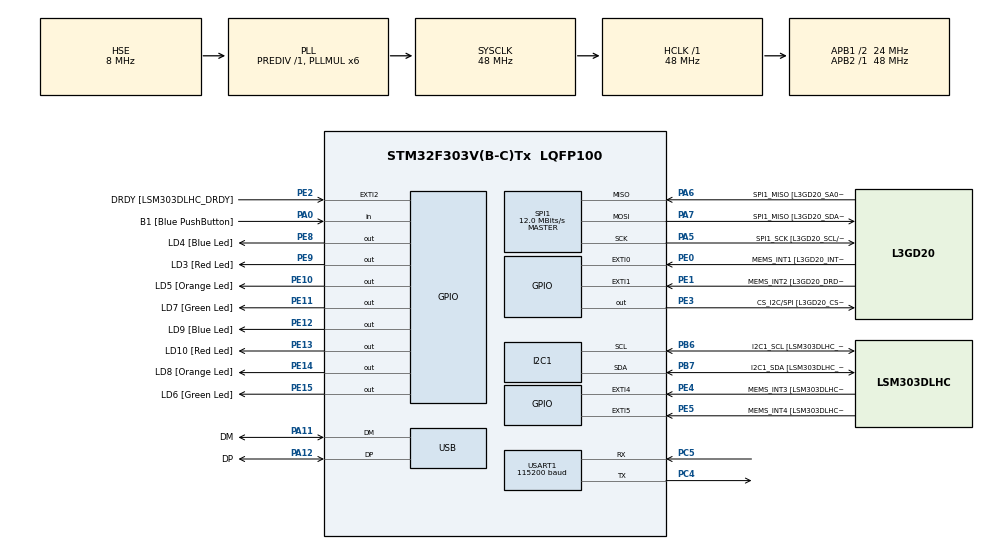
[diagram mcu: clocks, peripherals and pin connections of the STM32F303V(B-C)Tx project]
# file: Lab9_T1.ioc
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I2C1.Timing=0x00201D2B
I2C1.Timing-I2C=0x2000090E
Mcu.Family=STM32F3
Mcu.Name=STM32F303V(B-C)Tx
Mcu.Package=LQFP100
NVIC.I2C1_ER_IRQn=true\:0\:0\:false\:false\:true\:true\:true\:true
NVIC.I2C1_EV_IRQn=true\:0\:0\:false\:false\:true\:true\:true\:true
NVIC.PriorityGroup=NVIC_PRIORITYGROUP_0
NVIC.USART1_IRQn=true\:0\:0\:false\:false\:true\:true\:true\:true
PA0.GPIO_Label=B1 [Blue PushButton]
PA0.Signal=GPIO_Input
PA11.GPIO_Label=DM
PA11.Mode=Device
PA11.Signal=USB_DM
PA12.GPIO_Label=DP
PA12.Mode=Device
PA12.Signal=USB_DP
PA13.GPIO_Label=SWDIO
PA13.Mode=Serial_Wire
PA13.Signal=SYS_JTMS-SWDIO
PA14.GPIO_Label=SWCLK
PA14.Mode=Serial_Wire
PA14.Signal=SYS_JTCK-SWCLK
PA5.GPIO_Label=SPI1_SCK [L3GD20_SCL/SPC]
PA5.Mode=Full_Duplex_Master
PA5.Signal=SPI1_SCK
PA6.GPIO_Label=SPI1_MISO [L3GD20_SA0/SDO]
PA6.Mode=Full_Duplex_Master
PA6.Signal=SPI1_MISO
PA7.GPIO_Label=SPI1_MISO [L3GD20_SDA/SDI/SDO]
PA7.Mode=Full_Duplex_Master
PA7.Signal=SPI1_MOSI
PB3.GPIO_Label=SWO
PB3.Signal=SYS_JTDO-TRACESWO
PB6.GPIO_Label=I2C1_SCL [LSM303DLHC_SCL]
PB6.GPIO_Pu=GPIO_PULLUP
PB6.Mode=I2C
PB6.Signal=I2C1_SCL
PB7.GPIO_Label=I2C1_SDA [LSM303DLHC_SDA]
PB7.GPIO_Pu=GPIO_PULLUP
PB7.Mode=I2C
PB7.Signal=I2C1_SDA
PC14-OSC32_IN.GPIO_Label=OSC32_IN
PC14-OSC32_IN.Signal=RCC_OSC32_IN
PC15-OSC32_OUT.GPIO_Label=OSC32_OUT
PC15-OSC32_OUT.Signal=RCC_OSC32_OUT
PC4.Mode=Asynchronous
PC4.Signal=USART1_TX
PC5.Mode=Asynchronous
PC5.Signal=USART1_RX
PE0.GPIO_Label=MEMS_INT1 [L3GD20_INT1]
PE0.GPIO_ModeDefaultEXTI=GPIO_MODE_EVT_RISING
PE0.Signal=GPXTI0
PE1.GPIO_Label=MEMS_INT2 [L3GD20_DRDY/INT2]
PE1.GPIO_ModeDefaultEXTI=GPIO_MODE_EVT_RISING
PE1.Signal=GPXTI1
PE10.GPIO_Label=LD5 [Orange Led]
PE10.Signal=GPIO_Output
PE11.GPIO_Label=LD7 [Green Led]
PE11.Signal=GPIO_Output
PE12.GPIO_Label=LD9 [Blue Led]
PE12.Signal=GPIO_Output
PE13.GPIO_Label=LD10 [Red Led]
PE13.Signal=GPIO_Output
PE14.GPIO_Label=LD8 [Orange Led]
PE14.Signal=GPIO_Output
PE15.GPIO_Label=LD6 [Green Led]
PE15.Signal=GPIO_Output
PE2.GPIO_Label=DRDY [LSM303DLHC_DRDY]
PE2.GPIO_ModeDefaultEXTI=GPIO_MODE_EVT_RISING
PE2.Signal=GPXTI2
PE3.GPIO_Label=CS_I2C/SPI [L3GD20_CS_I2C/SPI]
PE3.Signal=GPIO_Output
PE4.GPIO_Label=MEMS_INT3 [LSM303DLHC_INT1]
PE4.GPIO_ModeDefaultEXTI=GPIO_MODE_EVT_RISING
PE4.Signal=GPXTI4
PE5.GPIO_Label=MEMS_INT4 [LSM303DLHC_INT2]
PE5.GPIO_ModeDefaultEXTI=GPIO_MODE_EVT_RISING
PE5.Signal=GPXTI5
PE8.GPIO_Label=LD4 [Blue Led]
PE8.Signal=GPIO_Output
PE9.GPIO_Label=LD3 [Red Led]
PE9.Signal=GPIO_Output
PF0-OSC_IN.GPIO_Label=OSC_IN
PF0-OSC_IN.Mode=HSE-External-Clock-Source
PF0-OSC_IN.Signal=RCC_OSC_IN
PF1-OSC_OUT.GPIO_Label=OSC_OUT
PF1-OSC_OUT.Signal=RCC_OSC_OUT
ProjectManager.HeapSize=0x200
ProjectManager.StackSize=0x400
ProjectManager.TargetToolchain=CMake
RCC.AHBFreq_Value=48000000
RCC.APB1CLKDivider=RCC_HCLK_DIV2
RCC.APB1Freq_Value=24000000
RCC.APB1TimFreq_Value=48000000
RCC.APB2Freq_Value=48000000
RCC.APB2TimFreq_Value=48000000
RCC.CortexFreq_Value=48000000
RCC.HCLKFreq_Value=48000000
RCC.HSE_VALUE=8000000
RCC.HSI_VALUE=8000000
RCC.LSE_VALUE=32768
RCC.PLLMUL=RCC_PLL_MUL6
RCC.SYSCLKFreq_VALUE=48000000
RCC.SYSCLKSourceVirtual=RCC_SYSCLKSOURCE_PLLCLK
RCC.USBFreq_Value=48000000
SPI1.BaudRatePrescaler=SPI_BAUDRATEPRESCALER_4
SPI1.BaudRatePrescaler-Full_Duplex_Master=SPI_BAUDRATEPRESCALER_2
SPI1.CalculateBaudRate=12.0 MBits/s
SPI1.CalculateBaudRate-Full_Duplex_Master=24.0 MBits/s
SPI1.Direction=SPI_DIRECTION_2LINES
SPI1.Mode=SPI_MODE_MASTER
SPI1.Mode-Full_Duplex_Master=SPI_MODE_MASTER
SPI1.VirtualType=VM_MASTER
USART1.BaudRate=115200
USART1.VirtualMode-Asynchronous=VM_ASYNC
board=STM32F3DISCOVERY

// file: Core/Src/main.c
/* USER CODE BEGIN Header */
/**
  ******************************************************************************
  * @file           : main.c
  * @brief          : Lab 9 Task 1 — I2C Communication with LSM303AGR
  *                   Read WHO_AM_I_A register (0x0F) from the on-board
  *                   LSM303AGR accelerometer and verify the device ID.
  *                   Expected value : 0x33
  *                   UART output    : USART1 @ 115200 baud
  ******************************************************************************
  */
/* USER CODE END Header */

#include "main.h"

/* USER CODE BEGIN Includes */
#include <stdio.h>
#include <string.h>
/* USER CODE END Includes */

/* USER CODE BEGIN PD */
/* ── LSM303AGR I2C Addresses ────────────────────────────────────────────────
 *  STM32 HAL expects the 8-bit address (7-bit address already left-shifted).
 *  Accelerometer:
 *    Write → 0x32   Read → 0x33
 *  Use 0x33 with HAL_I2C_Mem_Read
 *  Use 0x32 with HAL_I2C_Mem_Write
 * ─────────────────────────────────────────────────────────────────────────── */
#define LSM303AGR_ACCEL_READ    0x33   /* 8-bit read  address */
#define LSM303AGR_ACCEL_WRITE   0x32   /* 8-bit write address */

/* ── LSM303AGR Registers ────────────────────────────────────────────────────*/
#define WHO_AM_I_A     0x0F   /* Identification register — expected: 0x33 */
#define CTRL_REG1_A    0x20   /* Power on + enable axes                   */
#define LSM303AGR_ID   0x33   /* Expected WHO_AM_I value                  */
/* USER CODE END PD */

I2C_HandleTypeDef  hi2c1;
SPI_HandleTypeDef  hspi1;
UART_HandleTypeDef huart1;
PCD_HandleTypeDef  hpcd_USB_FS;

/* USER CODE BEGIN PV */
static uint8_t who_am_i = 0;
static char    uart_buf[80];
/* USER CODE END PV */

void SystemClock_Config(void);
static void MX_GPIO_Init(void);
static void MX_I2C1_Init(void);
static void MX_SPI1_Init(void);
static void MX_USART1_UART_Init(void);
static void MX_USB_PCD_Init(void);

/* USER CODE BEGIN PFP */
static void UART_Print(const char *msg);
/* USER CODE END PFP */

/* USER CODE BEGIN 0 */
static void UART_Print(const char *msg)
{
    HAL_UART_Transmit(&huart1, (uint8_t *)msg, strlen(msg), HAL_MAX_DELAY);
}
/* USER CODE END 0 */

int main(void)
{
    HAL_Init();
    SystemClock_Config();

    MX_GPIO_Init();
    MX_I2C1_Init();
    MX_SPI1_Init();
    MX_USART1_UART_Init();
    MX_USB_PCD_Init();

    /* USER CODE BEGIN 2 */

    /* Small delay to let UART stabilise before first print */
    HAL_Delay(100);

    UART_Print("\r\n=== Lab 9 Task 1: LSM303AGR WHO_AM_I Test ===\r\n");

    /* ── Step 1: Wake up LSM303AGR accelerometer ───────────────────────────
     *  Write 0x67 to CTRL_REG1_A (0x20):
     *    ODR = 200 Hz, normal mode, X/Y/Z axes enabled
     *  Without this the sensor may not respond correctly.
     * ───────────────────────────────────────────────────────────────────── */
    uint8_t ctrl = 0x67;
    HAL_StatusTypeDef wake_status = HAL_I2C_Mem_Write(
        &hi2c1,
        LSM303AGR_ACCEL_WRITE,
        CTRL_REG1_A,
        I2C_MEMADD_SIZE_8BIT,
        &ctrl,
        1,
        100
    );

    if (wake_status != HAL_OK)
    {
        UART_Print("ERROR: Could not write to LSM303AGR!\r\n");
        UART_Print("Check: PB6=SCL and PB7=SDA are configured in CubeMX.\r\n");
    }
    else
    {
        UART_Print("LSM303AGR wake-up OK.\r\n");
    }

    HAL_Delay(10); /* let sensor settle */

    /* ── Step 2: Read WHO_AM_I_A register (0x0F) ───────────────────────────
     *  HAL_I2C_Mem_Read parameters:
     *    &hi2c1                  — I2C handle
     *    LSM303AGR_ACCEL_READ    — 8-bit read address (0x33)
     *    WHO_AM_I_A (0x0F)       — register to read
     *    I2C_MEMADD_SIZE_8BIT    — 1-byte register address
     *    &who_am_i               — receive buffer
     *    1                       — 1 byte to read
     *    100                     — timeout ms
     * ───────────────────────────────────────────────────────────────────── */
    HAL_StatusTypeDef status = HAL_I2C_Mem_Read(
        &hi2c1,
        LSM303AGR_ACCEL_READ,
        WHO_AM_I_A,
        I2C_MEMADD_SIZE_8BIT,
        &who_am_i,
        1,
        100
    );

    /* ── Step 3: Print result over UART ────────────────────────────────── */
    int len;

    if (status != HAL_OK)
    {
        len = snprintf(uart_buf, sizeof(uart_buf),
                       "I2C read FAILED (HAL status = %d)\r\n"
                       "Check PB6=SCL and PB7=SDA in CubeMX.\r\n",
                       (int)status);
    }
    else if (who_am_i == LSM303AGR_ID)
    {
        len = snprintf(uart_buf, sizeof(uart_buf),
                       "WHO_AM_I = 0x%02X  -- SUCCESS (LSM303AGR detected!)\r\n",
                       who_am_i);
    }
    else
    {
        len = snprintf(uart_buf, sizeof(uart_buf),
                       "WHO_AM_I = 0x%02X  -- UNEXPECTED (expected 0x33)\r\n",
                       who_am_i);
    }

    HAL_UART_Transmit(&huart1, (uint8_t *)uart_buf, (uint16_t)len, HAL_MAX_DELAY);

    /* USER CODE END 2 */

    while (1)
    {
        HAL_Delay(1000);
    }
}

void SystemClock_Config(void)
{
    RCC_OscInitTypeDef       RCC_OscInitStruct = {0};
    RCC_ClkInitTypeDef       RCC_ClkInitStruct = {0};
    RCC_PeriphCLKInitTypeDef PeriphClkInit     = {0};

    RCC_OscInitStruct.OscillatorType      = RCC_OSCILLATORTYPE_HSI | RCC_OSCILLATORTYPE_HSE;
    RCC_OscInitStruct.HSEState            = RCC_HSE_BYPASS;
    RCC_OscInitStruct.HSEPredivValue      = RCC_HSE_PREDIV_DIV1;
    RCC_OscInitStruct.HSIState            = RCC_HSI_ON;
    RCC_OscInitStruct.HSICalibrationValue = RCC_HSICALIBRATION_DEFAULT;
    RCC_OscInitStruct.PLL.PLLState        = RCC_PLL_ON;
    RCC_OscInitStruct.PLL.PLLSource       = RCC_PLLSOURCE_HSE;
    RCC_OscInitStruct.PLL.PLLMUL          = RCC_PLL_MUL6;
    if (HAL_RCC_OscConfig(&RCC_OscInitStruct) != HAL_OK) Error_Handler();

    RCC_ClkInitStruct.ClockType      = RCC_CLOCKTYPE_HCLK | RCC_CLOCKTYPE_SYSCLK
                                     | RCC_CLOCKTYPE_PCLK1 | RCC_CLOCKTYPE_PCLK2;
    RCC_ClkInitStruct.SYSCLKSource   = RCC_SYSCLKSOURCE_PLLCLK;
    RCC_ClkInitStruct.AHBCLKDivider  = RCC_SYSCLK_DIV1;
    RCC_ClkInitStruct.APB1CLKDivider = RCC_HCLK_DIV2;
    RCC_ClkInitStruct.APB2CLKDivider = RCC_HCLK_DIV1;
    if (HAL_RCC_ClockConfig(&RCC_ClkInitStruct, FLASH_LATENCY_1) != HAL_OK) Error_Handler();

    PeriphClkInit.PeriphClockSelection = RCC_PERIPHCLK_USB | RCC_PERIPHCLK_USART1
                                       | RCC_PERIPHCLK_I2C1;
    PeriphClkInit.Usart1ClockSelection = RCC_USART1CLKSOURCE_PCLK2;
    PeriphClkInit.I2c1ClockSelection   = RCC_I2C1CLKSOURCE_HSI;
    PeriphClkInit.USBClockSelection    = RCC_USBCLKSOURCE_PLL;
    if (HAL_RCCEx_PeriphCLKConfig(&PeriphClkInit) != HAL_OK) Error_Handler();
}

/**
  * @brief I2C1 Initialization
  *        SCL = PB6 (AF4)   SDA = PB7 (AF4)
  *        LSM303AGR is on-board — no external wiring needed.
  */
static void MX_I2C1_Init(void)
{
    hi2c1.Instance              = I2C1;
    hi2c1.Init.Timing           = 0x00201D2B;   /* ~100 kHz with HSI clock */
    hi2c1.Init.OwnAddress1      = 0;
    hi2c1.Init.AddressingMode   = I2C_ADDRESSINGMODE_7BIT;
    hi2c1.Init.DualAddressMode  = I2C_DUALADDRESS_DISABLE;
    hi2c1.Init.OwnAddress2      = 0;
    hi2c1.Init.OwnAddress2Masks = I2C_OA2_NOMASK;
    hi2c1.Init.GeneralCallMode  = I2C_GENERALCALL_DISABLE;
    hi2c1.Init.NoStretchMode    = I2C_NOSTRETCH_DISABLE;
    if (HAL_I2C_Init(&hi2c1) != HAL_OK) Error_Handler();
    if (HAL_I2CEx_ConfigAnalogFilter(&hi2c1, I2C_ANALOGFILTER_ENABLE) != HAL_OK) Error_Handler();
    if (HAL_I2CEx_ConfigDigitalFilter(&hi2c1, 0) != HAL_OK) Error_Handler();
}

/**
  * @brief SPI1 Initialization (unchanged from skeleton)
  */
static void MX_SPI1_Init(void)
{
    hspi1.Instance               = SPI1;
    hspi1.Init.Mode              = SPI_MODE_MASTER;
    hspi1.Init.Direction         = SPI_DIRECTION_2LINES;
    hspi1.Init.DataSize          = SPI_DATASIZE_4BIT;
    hspi1.Init.CLKPolarity       = SPI_POLARITY_LOW;
    hspi1.Init.CLKPhase          = SPI_PHASE_1EDGE;
    hspi1.Init.NSS               = SPI_NSS_SOFT;
    hspi1.Init.BaudRatePrescaler = SPI_BAUDRATEPRESCALER_4;
    hspi1.Init.FirstBit          = SPI_FIRSTBIT_MSB;
    hspi1.Init.TIMode            = SPI_TIMODE_DISABLE;
    hspi1.Init.CRCCalculation    = SPI_CRCCALCULATION_DISABLE;
    hspi1.Init.CRCPolynomial     = 7;
    hspi1.Init.CRCLength         = SPI_CRC_LENGTH_DATASIZE;
    hspi1.Init.NSSPMode          = SPI_NSS_PULSE_ENABLE;
    if (HAL_SPI_Init(&hspi1) != HAL_OK) Error_Handler();
}

/**
  * @brief USART1 Initialization
  *        TX = PA9   RX = PA10   Baud = 115200, 8N1
  */
static void MX_USART1_UART_Init(void)
{
    huart1.Instance            = USART1;
    huart1.Init.BaudRate       = 115200;
    huart1.Init.WordLength     = UART_WORDLENGTH_8B;
    huart1.Init.StopBits       = UART_STOPBITS_1;
    huart1.Init.Parity         = UART_PARITY_NONE;
    huart1.Init.Mode           = UART_MODE_TX_RX;
    huart1.Init.HwFlowCtl      = UART_HWCONTROL_NONE;
    huart1.Init.OverSampling   = UART_OVERSAMPLING_16;
    huart1.Init.OneBitSampling = UART_ONE_BIT_SAMPLE_DISABLE;
    huart1.AdvancedInit.AdvFeatureInit = UART_ADVFEATURE_NO_INIT;
    if (HAL_UART_Init(&huart1) != HAL_OK) Error_Handler();
}

/**
  * @brief USB Initialization (unchanged from skeleton)
  */
static void MX_USB_PCD_Init(void)
{
    hpcd_USB_FS.Instance                     = USB;
    hpcd_USB_FS.Init.dev_endpoints           = 8;
    hpcd_USB_FS.Init.speed                   = PCD_SPEED_FULL;
    hpcd_USB_FS.Init.phy_itface              = PCD_PHY_EMBEDDED;
    hpcd_USB_FS.Init.low_power_enable        = DISABLE;
    hpcd_USB_FS.Init.battery_charging_enable = DISABLE;
    if (HAL_PCD_Init(&hpcd_USB_FS) != HAL_OK) Error_Handler();
}

/**
  * @brief GPIO Initialization (unchanged from skeleton)
  */
static void MX_GPIO_Init(void)
{
    GPIO_InitTypeDef GPIO_InitStruct = {0};

    __HAL_RCC_GPIOE_CLK_ENABLE();
    __HAL_RCC_GPIOC_CLK_ENABLE();
    __HAL_RCC_GPIOF_CLK_ENABLE();
    __HAL_RCC_GPIOA_CLK_ENABLE();
    __HAL_RCC_GPIOB_CLK_ENABLE();

    HAL_GPIO_WritePin(GPIOE, CS_I2C_SPI_Pin | LD4_Pin | LD3_Pin | LD5_Pin
                           | LD7_Pin | LD9_Pin | LD10_Pin | LD8_Pin
                           | LD6_Pin, GPIO_PIN_RESET);

    GPIO_InitStruct.Pin  = DRDY_Pin | MEMS_INT3_Pin | MEMS_INT4_Pin
                         | MEMS_INT1_Pin | MEMS_INT2_Pin;
    GPIO_InitStruct.Mode = GPIO_MODE_EVT_RISING;
    GPIO_InitStruct.Pull = GPIO_NOPULL;
    HAL_GPIO_Init(GPIOE, &GPIO_InitStruct);

    GPIO_InitStruct.Pin   = CS_I2C_SPI_Pin | LD4_Pin | LD3_Pin | LD5_Pin
                          | LD7_Pin | LD9_Pin | LD10_Pin | LD8_Pin | LD6_Pin;
    GPIO_InitStruct.Mode  = GPIO_MODE_OUTPUT_PP;
    GPIO_InitStruct.Pull  = GPIO_NOPULL;
    GPIO_InitStruct.Speed = GPIO_SPEED_FREQ_LOW;
    HAL_GPIO_Init(GPIOE, &GPIO_InitStruct);

    GPIO_InitStruct.Pin  = B1_Pin;
    GPIO_InitStruct.Mode = GPIO_MODE_INPUT;
    GPIO_InitStruct.Pull = GPIO_NOPULL;
    HAL_GPIO_Init(B1_GPIO_Port, &GPIO_InitStruct);
}

void Error_Handler(void)
{
    __disable_irq();
    while (1) {}
}
